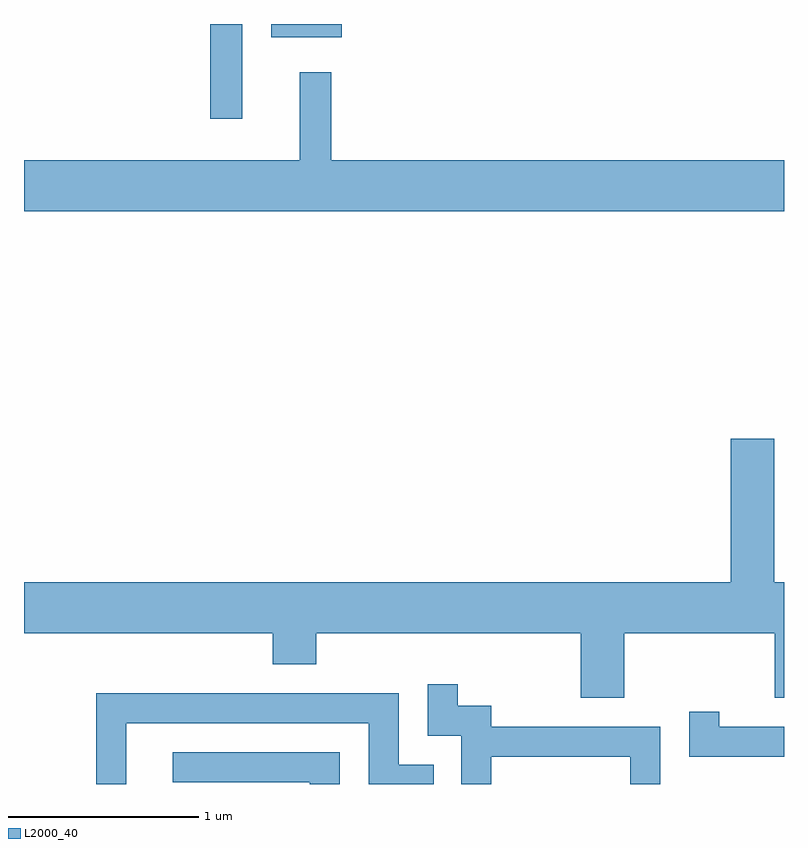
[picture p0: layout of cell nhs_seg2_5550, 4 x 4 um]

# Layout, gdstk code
import gdstk
lib = gdstk.Library(unit=1e-6, precision=1e-09)
def R(c, l, rs):  # rectangles x0, y0, x1, y1
    for r in rs: c.add(gdstk.rectangle(r[:2], r[2:], *l))
def P(c, l, *ps):  # polygons
    for p in ps: c.add(gdstk.Polygon(p, *l))
L2000_40 = (2000, 40)

nhs_seg2_5550 = lib.new_cell('nhs_seg2_5550')
R(nhs_seg2_5550, L2000_40, [(350.591,993.303,350.759,993.802), (350.911,993.731,351.284,993.802)])
P(nhs_seg2_5550, L2000_40, [(353.611,993.084),(351.229,993.084),(351.229,993.548),(351.061,993.548),(351.061,993.084),(349.611,993.084),(349.611,992.816),(353.611,992.816)],
  [(352.769,990.596),(353.561,990.596),(353.561,990.256),(353.611,990.256),(353.611,990.864),(353.559,990.864),(353.559,991.619),(353.331,991.619),(353.331,990.864),(349.611,990.864),(349.611,990.596),(350.921,990.596),(350.921,990.431),(351.149,990.431),(351.149,990.596),(352.541,990.596),(352.541,990.256),(352.769,990.256)],
  [(352.069,989.946),(352.801,989.946),(352.801,989.802),(352.959,989.802),(352.959,990.104),(352.069,990.104),(352.069,990.214),(351.894,990.214),(351.894,990.328),(351.736,990.328),(351.736,990.056),(351.911,990.056),(351.911,989.802),(352.069,989.802)],
  [(350.149,990.121),(351.426,990.121),(351.426,989.802),(351.768,989.802),(351.768,989.904),(351.584,989.904),(351.584,990.279),(349.991,990.279),(349.991,989.802),(350.149,989.802)],
  [(353.611,990.104),(353.269,990.104),(353.269,990.183),(353.111,990.183),(353.111,989.946),(353.611,989.946)],
  [(351.274,989.969),(350.393,989.969),(350.393,989.811),(351.116,989.811),(351.116,989.802),(351.274,989.802)])

lib.write_gds('nhs_seg2_5550.gds')
